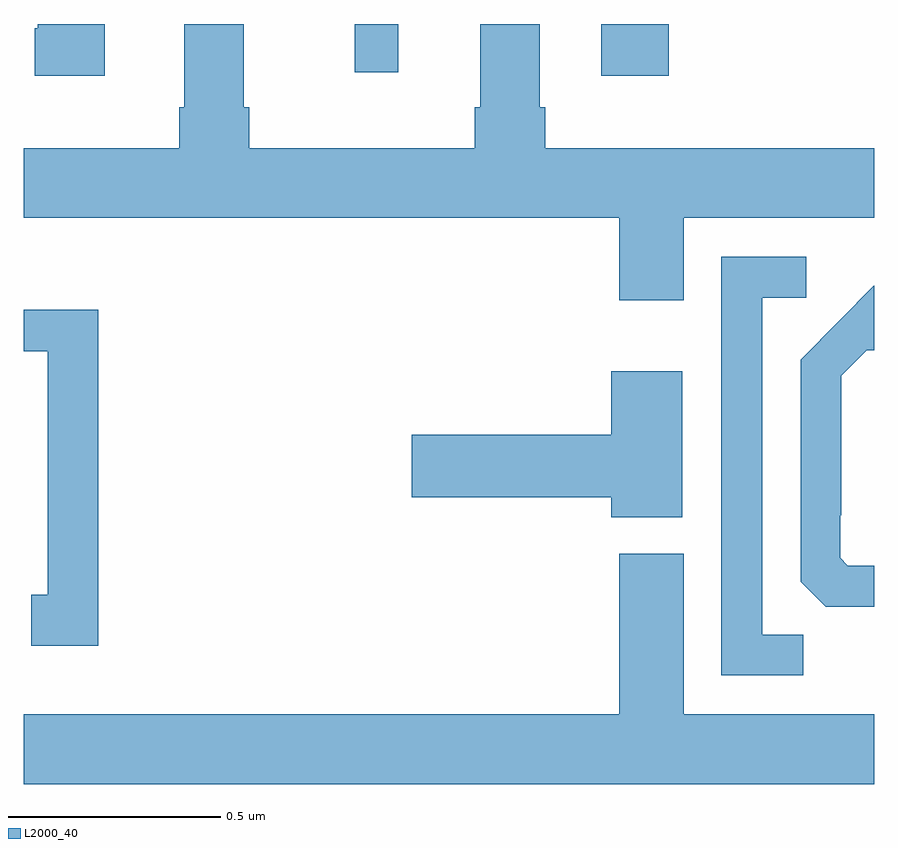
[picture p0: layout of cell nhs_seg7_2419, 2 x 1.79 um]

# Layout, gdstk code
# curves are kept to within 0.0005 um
import gdstk
lib = gdstk.Library(unit=1e-6, precision=1e-09)
def R(c, l, rs):  # rectangles x0, y0, x1, y1
    for r in rs: c.add(gdstk.rectangle(r[:2], r[2:], *l))
def P(c, l, *ps):  # polygons
    for p in ps: c.add(gdstk.Polygon(p, *l))
L2000_40 = (2000, 40)

nhs_seg7_2419 = lib.new_cell('nhs_seg7_2419')
R(nhs_seg7_2419, L2000_40, [(145.358,1072.878,145.517,1073), (144.778,1072.887,144.881,1073)])
P(nhs_seg7_2419, L2000_40, [(145.552,1072.544),(146,1072.544),(146,1072.708),(145.226,1072.708),(145.226,1072.804),(145.213,1072.804),(145.213,1073),(145.073,1073),(145.073,1072.804),(145.061,1072.804),(145.061,1072.708),(144.53,1072.708),(144.53,1072.804),(144.517,1072.804),(144.517,1073),(144.377,1073),(144.377,1072.804),(144.365,1072.804),(144.365,1072.708),(144,1072.708),(144,1072.544),(145.4,1072.544),(145.4,1072.35),(145.552,1072.35)],
  [(144.19,1073),(144.032,1073),(144.032,1072.99),(144.025,1072.99),(144.025,1072.878),(144.19,1072.878)],
  [(145.833,1071.563),(145.737,1071.563),(145.737,1072.356),(145.84,1072.356),(145.84,1072.452),(145.641,1072.452),(145.641,1071.468),(145.833,1071.468)],
  [(146,1071.726),(145.938,1071.726),(145.92,1071.744),(145.92,1071.844),(145.923,1071.844),(145.923,1072.173),(145.983,1072.233),(146,1072.233),(146,1072.384),(145.999,1072.384),(145.827,1072.21),(145.827,1071.688),(145.886,1071.629),(146,1071.629)],
  [(144.175,1072.328),(144,1072.328),(144,1072.23),(144.056,1072.23),(144.056,1071.657),(144.017,1071.657),(144.017,1071.537),(144.175,1071.537)],
  [(145.549,1072.183),(145.382,1072.183),(145.382,1072.034),(144.912,1072.034),(144.912,1071.887),(145.382,1071.887),(145.382,1071.839),(145.549,1071.839)],
  [(146,1071.376),(145.552,1071.376),(145.552,1071.754),(145.4,1071.754),(145.4,1071.376),(144,1071.376),(144,1071.212),(146,1071.212)])

lib.write_gds('nhs_seg7_2419.gds')
